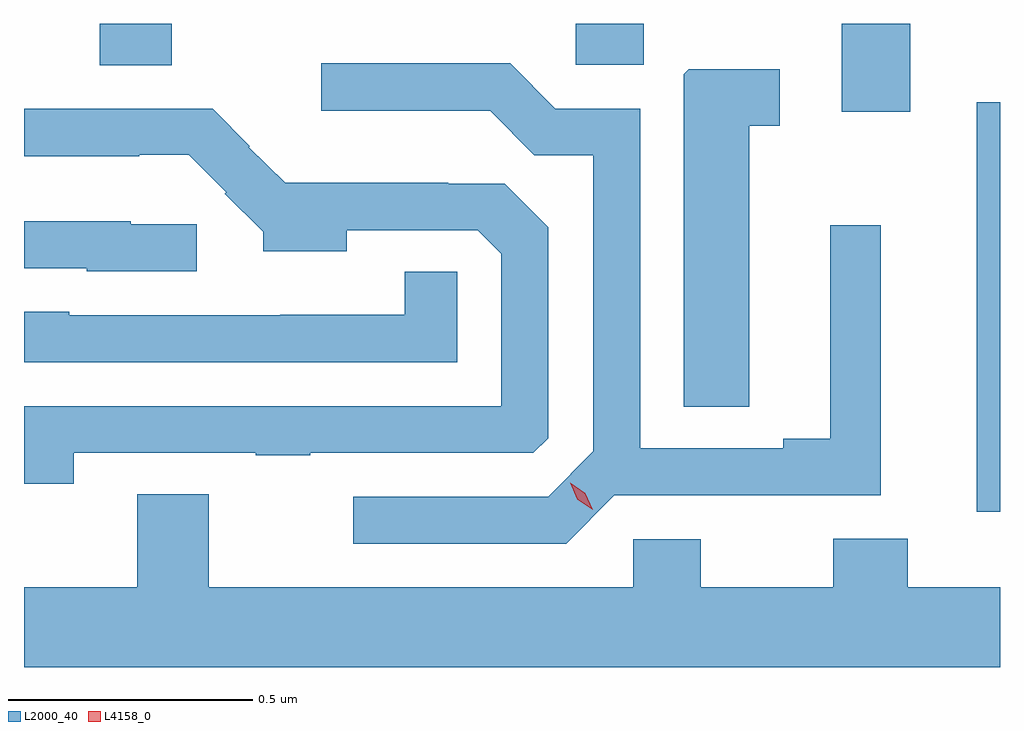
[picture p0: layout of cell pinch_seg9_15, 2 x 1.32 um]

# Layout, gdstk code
import gdstk
lib = gdstk.Library(unit=1e-6, precision=1e-09)
def R(c, l, rs):  # rectangles x0, y0, x1, y1
    for r in rs: c.add(gdstk.rectangle(r[:2], r[2:], *l))
def P(c, l, *ps):  # polygons
    for p in ps: c.add(gdstk.Polygon(p, *l))
L2000_40 = (2000, 40)
L4158_0 = (4158, 0)

pinch_seg9_15 = lib.new_cell('pinch_seg9_15')
R(pinch_seg9_15, L2000_40, [(1051.106,1207.394,1051.154,1208.233), (1050.83,1208.214,1050.97,1208.394), (1049.309,1208.309,1049.457,1208.394), (1050.285,1208.31,1050.424,1208.394)])
P(pinch_seg9_15, L2000_40, [(1050.364,1207.428),(1050.91,1207.428),(1050.91,1207.981),(1050.806,1207.981),(1050.806,1207.544),(1050.71,1207.544),(1050.71,1207.524),(1050.417,1207.524),(1050.417,1208.22),(1050.243,1208.22),(1050.15,1208.313),(1049.763,1208.313),(1049.763,1208.216),(1050.109,1208.216),(1050.2,1208.125),(1050.321,1208.125),(1050.321,1207.518),(1050.228,1207.425),(1049.829,1207.425),(1049.829,1207.329),(1050.265,1207.329)],
  [(1050.64,1208.185),(1050.703,1208.185),(1050.703,1208.301),(1050.516,1208.301),(1050.506,1208.291),(1050.506,1207.609),(1050.64,1207.609)],
  [(1049.256,1207.515),(1049.629,1207.515),(1049.629,1207.51),(1049.741,1207.51),(1049.741,1207.515),(1050.198,1207.515),(1050.228,1207.545),(1050.228,1207.977),(1050.139,1208.066),(1050.023,1208.066),(1050.023,1208.068),(1049.689,1208.068),(1049.615,1208.141),(1049.617,1208.143),(1049.541,1208.22),(1049.154,1208.22),(1049.154,1208.123),(1049.39,1208.123),(1049.39,1208.126),(1049.492,1208.126),(1049.568,1208.049),(1049.565,1208.046),(1049.644,1207.968),(1049.644,1207.928),(1049.815,1207.928),(1049.815,1207.971),(1050.084,1207.971),(1050.132,1207.923),(1050.132,1207.611),(1049.154,1207.611),(1049.154,1207.452),(1049.256,1207.452)],
  [(1049.508,1207.983),(1049.373,1207.983),(1049.373,1207.99),(1049.154,1207.99),(1049.154,1207.893),(1049.283,1207.893),(1049.283,1207.887),(1049.508,1207.887)],
  [(1050.042,1207.886),(1049.934,1207.886),(1049.934,1207.798),(1049.679,1207.798),(1049.679,1207.797),(1049.247,1207.797),(1049.247,1207.804),(1049.154,1207.804),(1049.154,1207.701),(1050.042,1207.701)],
  [(1051.154,1207.24),(1050.965,1207.24),(1050.965,1207.339),(1050.812,1207.339),(1050.812,1207.24),(1050.541,1207.24),(1050.541,1207.338),(1050.402,1207.338),(1050.402,1207.24),(1049.533,1207.24),(1049.533,1207.43),(1049.386,1207.43),(1049.386,1207.24),(1049.154,1207.24),(1049.154,1207.076),(1051.154,1207.076)])
P(pinch_seg9_15, L4158_0, [(1050.319,1207.398),(1050.288,1207.42),(1050.273,1207.454),(1050.273,1207.454),(1050.273,1207.454),(1050.304,1207.432),(1050.319,1207.398),(1050.319,1207.398)])

lib.write_gds('pinch_seg9_15.gds')
